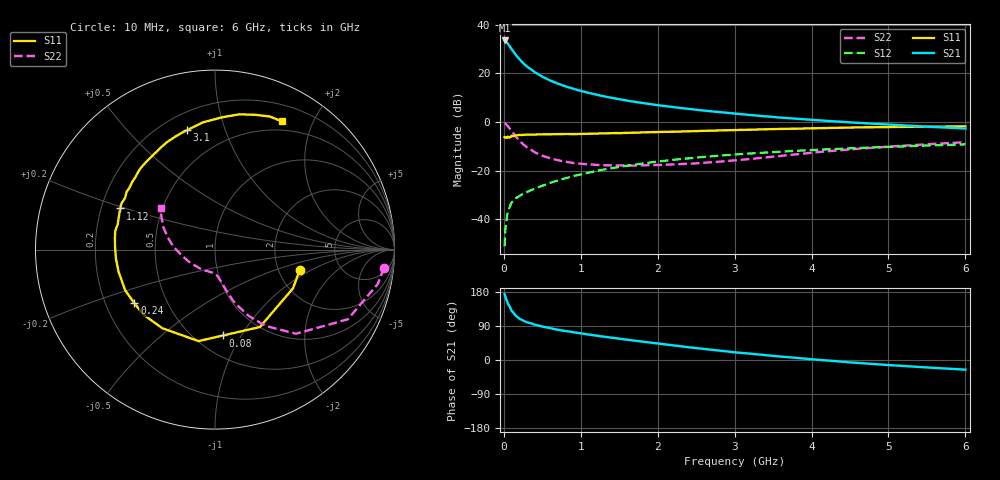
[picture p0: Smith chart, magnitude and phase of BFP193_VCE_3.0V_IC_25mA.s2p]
! Infineon Technologies  Discrete & RF Semiconductors
! BFP193
! VCE = 3.0 V,  IC =  25 mA
! Common Emitter S-Parameters:  Jan 2016
# GHz  S  MA  R  50
!  f  S11  S21  S12  S22
! GHz  MAG  ANG  MAG  ANG  MAG  ANG  MAG  ANG
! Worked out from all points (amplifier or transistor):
!   210 points, 10 MHz to 6 GHz, reference 50 ohm
!   highest |S21| = 33.5 dB at 10 MHz (marker M1)
!   |S21| within 3 dB of that: start of sweep to 88.66 MHz
!   unconditionally stable (mu >= 1): 697.7 MHz to 3.817 GHz
!   at 185 MHz: K = 0.54, MSG = 28.6 dB, |S12| = -30.8 dB
!   at 1.52 GHz: K = 1.07, MAG = 12.2 dB, |S12| = -18.4 dB
!   at 6 GHz: K = 0.94, MSG = 3.3 dB, |S12| = -9.2 dB
!   S11 on the Smith chart (normalised r, x): 10 MHz: 2.62, -0.78; 80 MHz: 0.67, -0.84; 240 MHz: 0.32, -0.27; 1.12 GHz: 0.28, +0.19; 3.1 GHz: 0.30, +0.75; 6 GHz: 0.39, +1.59
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0.01  0.4859 -13.5  47.06 173.8  0.0028 87.2  0.9467 -6.1
0.02  0.4852 -26.4  45.61 166.3  0.0062 84.1  0.9273 -11.9
0.05  0.4987 -59.9  40.88 149.9  0.0138 68.4  0.8355 -27.7
0.08  0.4806 -84.6  34.8 139.3  0.0185 61.5  0.7153 -37.6
0.1  0.518 -100.2  31.61 130.2  0.0218 58.6  0.6506 -46.1
0.15  0.5273 -123.8  24.36 117.5  0.0267 52.8  0.5083 -56.6
0.2  0.5393 -138.0  19.61 109.5  0.03 50.8  0.4138 -63.1
0.24  0.5392 -146.4  16.78 105.1  0.0326 51.4  0.3588 -66.4
0.3  0.5492 -155.7  13.71 99.5  0.0363 52.7  0.3018 -70.6
0.4  0.5514 -167.1  10.53 93.3  0.0425 55.0  0.2383 -74.4
0.5  0.5542 -174.5  8.476 88.2  0.0487 56.7  0.2016 -77.2
0.6  0.5569 179.2  7.115 83.9  0.0557 58.0  0.1788 -79.6
0.7  0.5609 174.0  6.134 79.8  0.0623 58.8  0.1631 -81.8
0.8  0.5654 169.5  5.379 76.5  0.0695 58.9  0.1519 -84.2
1.02  0.5681 160.1  4.254 69.7  0.0849 59.1  0.1372 -88.9
1.12  0.5756 156.5  3.887 66.7  0.0921 58.8  0.1334 -91.7
1.6  0.5953 140.9  2.734 53.5  0.1258 55.1  0.1269 -105.7
2.02  0.6196 129.0  2.185 43.1  0.1544 50.6  0.1301 -120.1
3.1  0.6835 103.2  1.432 18.6  0.2191 38.0  0.1672 -159.9
4.1  0.7427 85.5  1.075 0.3  0.2692 26.4  0.241 173.2
5.1  0.7868 72.2  0.866 -14.6  0.3109 15.4  0.3178 155.3
6  0.8061 62.3  0.732 -25.4  0.3462 5.8  0.3825 142.2
